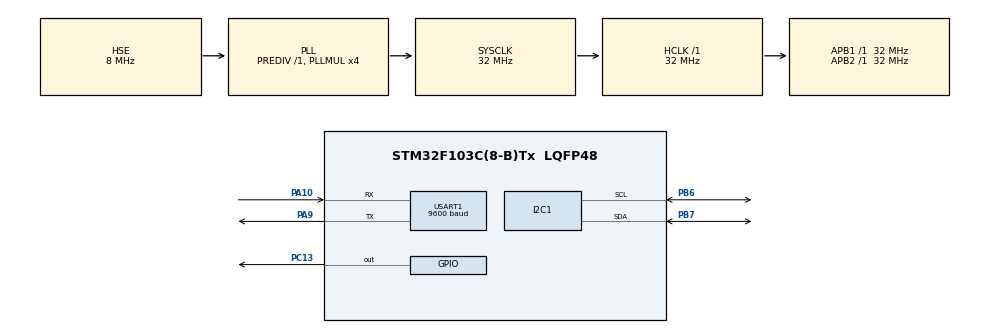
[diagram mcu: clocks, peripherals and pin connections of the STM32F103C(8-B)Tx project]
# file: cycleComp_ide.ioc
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I2C1.I2C_Mode=I2C_Fast
Mcu.Family=STM32F1
Mcu.Name=STM32F103C(8-B)Tx
Mcu.Package=LQFP48
NVIC.PriorityGroup=NVIC_PRIORITYGROUP_4
NVIC.USART1_IRQn=true\:0\:0\:false\:false\:true\:true\:true\:true
PA10.Mode=Asynchronous
PA10.Signal=USART1_RX
PA9.Mode=Asynchronous
PA9.Signal=USART1_TX
PB6.Mode=I2C
PB6.Signal=I2C1_SCL
PB7.Mode=I2C
PB7.Signal=I2C1_SDA
PC13-TAMPER-RTC.Signal=GPIO_Output
PD0-OSC_IN.Mode=HSE-External-Oscillator
PD0-OSC_IN.Signal=RCC_OSC_IN
PD1-OSC_OUT.Mode=HSE-External-Oscillator
PD1-OSC_OUT.Signal=RCC_OSC_OUT
ProjectManager.HeapSize=0x200
ProjectManager.StackSize=0x400
ProjectManager.TargetToolchain=STM32CubeIDE
RCC.AHBFreq_Value=32000000
RCC.APB1Freq_Value=32000000
RCC.APB1TimFreq_Value=32000000
RCC.APB2Freq_Value=32000000
RCC.APB2TimFreq_Value=32000000
RCC.HCLKFreq_Value=32000000
RCC.PLLMUL=RCC_PLL_MUL4
RCC.PLLSourceVirtual=RCC_PLLSOURCE_HSE
RCC.SYSCLKFreq_VALUE=32000000
RCC.SYSCLKSource=RCC_SYSCLKSOURCE_PLLCLK
RCC.USBFreq_Value=32000000
USART1.BaudRate=9600
USART1.Mode=MODE_RX
USART1.VirtualMode=VM_ASYNC
VP_SYS_VS_ND.Mode=No_Debug
board=custom

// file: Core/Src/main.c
/* USER CODE BEGIN Header */
/**
  ******************************************************************************
  * @file           : main.c
  * @brief          : Main program body
  ******************************************************************************
  * @attention
  *
  * Copyright (c) 2023 STMicroelectronics.
  * All rights reserved.
  *
  * This software is licensed under terms that can be found in the LICENSE file
  * in the root directory of this software component.
  * If no LICENSE file comes with this software, it is provided AS-IS.
  *
  ******************************************************************************
  */
/* USER CODE END Header */
#include "main.h"

/* USER CODE BEGIN Includes */
#include "fonts.h"
#include "ssd1306.h"
#include "test.h"
//#include "dispMap.h"
#include "nmea_parse.h"

/* USER CODE END Includes */

I2C_HandleTypeDef hi2c1;

UART_HandleTypeDef huart1;

void SystemClock_Config(void);
static void MX_GPIO_Init(void);
static void MX_I2C1_Init(void);
static void MX_USART1_UART_Init(void);

/* USER CODE BEGIN 0 */

char gpsBuff[GPS_BUFF_SIZE];
GPS gpsData;

uint8_t rxFlag = 0, updateFlag = 0, seqCheck = 0;
uint8_t rxIntCheck=1;
uint8_t rxInProgress=0;
char rxData;
uint32_t newSpeed = 0;
/* USER CODE END 0 */

int main(void)
{
  /* USER CODE BEGIN 1 */
	uint8_t displayCntr = 0;
	float tripCnt = 0.0;
	char tripStr[9] = "         ";
  /* USER CODE END 1 */

  /* MCU Configuration--------------------------------------------------------*/

  /* Reset of all peripherals, Initializes the Flash interface and the Systick. */
  HAL_Init();

  /* Configure the system clock */
  SystemClock_Config();

  /* Initialize all configured peripherals */
  MX_GPIO_Init();
  MX_I2C1_Init();
  MX_USART1_UART_Init();
  /* USER CODE BEGIN 2 */

  SSD1306_Init();  // initialise

  /* USER CODE END 2 */

  nmea_mem_init(&gpsData);
  /* Infinite loop */
  while (1)
  {
	  if(updateFlag != 0)
	  {
		  tripCnt = tripCnt + ((float)newSpeed/3.6);
		  sprintf(tripStr,"%0.3f",(double)(tripCnt/1000.0));
		  if(displayCntr < 10)
		  {
			  if(displayCntr == 0)
				  SSD1306_Clear();
			  displayCntr++;
			  updateFlag = 0;
			  SSD1306_GotoXY (40,25);
			  SSD1306_Puts (gpsData.speed, &Font_16x26, 1);
			  SSD1306_GotoXY (0,0);
			  SSD1306_Puts (tripStr, &Font_11x18, 1);
			  SSD1306_UpdateScreen();
		  }
		  else if(displayCntr < 15)
		  {
			  if(displayCntr == 10)
			  	  SSD1306_Clear();
			  displayCntr++;
			  updateFlag = 0;
			  SSD1306_GotoXY (0,0);
			  SSD1306_Puts (gpsData.validStatus, &Font_11x18, 1);
			  SSD1306_GotoXY (0,20);
			  SSD1306_Puts (gpsData.lat, &Font_11x18, 1);
			  SSD1306_GotoXY (110,20);
			  SSD1306_Puts (gpsData.latDir, &Font_11x18, 1);
			  SSD1306_GotoXY (0,38);
			  SSD1306_Puts (gpsData.lon, &Font_11x18, 1);
			  SSD1306_GotoXY (110,38);
			  SSD1306_Puts (gpsData.lonDir, &Font_11x18, 1);
			  SSD1306_UpdateScreen();
		  }
		  else if(displayCntr < 20)
		  {
			  if(displayCntr == 15)
				  SSD1306_Clear();
			  displayCntr++;
			  updateFlag = 0;
			  SSD1306_GotoXY (0,0);
			  SSD1306_Puts ("UTC STAT", &Font_11x18, 1);
			  SSD1306_GotoXY (0,20);
			  SSD1306_Puts (gpsData.utcTime, &Font_11x18, 1);
			  SSD1306_GotoXY (0,40);
			  SSD1306_Puts (gpsData.utcDate, &Font_11x18, 1);
			  SSD1306_UpdateScreen();
			  if(displayCntr >= 20)
			  {
				  displayCntr = 0;
			  }
		  }
	  }
	  else if((rxIntCheck == 1) && (seqCheck != 6))
	  {
		  rxIntCheck = 0;
		  HAL_UART_Receive_IT( &huart1, &rxData, 1);
	  }
	  else if((rxIntCheck == 1) && (seqCheck == 6))
	  {
		  if(rxInProgress == 0)
		  {
			  rxIntCheck = 75;
			  HAL_UART_Receive_IT( &huart1, &gpsBuff[6], 74);
			  rxInProgress = 1;
		  }
		  else
		  {
			  rxInProgress = 0;
			  seqCheck = 0;
			  nmea_parse(&gpsData, gpsBuff);
			  updateFlag = 1;  //Update Screen
		  }
	  }

  }
}

void SystemClock_Config(void)
{
  RCC_OscInitTypeDef RCC_OscInitStruct = {0};
  RCC_ClkInitTypeDef RCC_ClkInitStruct = {0};

  /** Initializes the RCC Oscillators according to the specified parameters
  * in the RCC_OscInitTypeDef structure.
  */
  RCC_OscInitStruct.OscillatorType = RCC_OSCILLATORTYPE_HSE;
  RCC_OscInitStruct.HSEState = RCC_HSE_ON;
  RCC_OscInitStruct.HSEPredivValue = RCC_HSE_PREDIV_DIV1;
  RCC_OscInitStruct.HSIState = RCC_HSI_ON;
  RCC_OscInitStruct.PLL.PLLState = RCC_PLL_ON;
  RCC_OscInitStruct.PLL.PLLSource = RCC_PLLSOURCE_HSE;
  RCC_OscInitStruct.PLL.PLLMUL = RCC_PLL_MUL4;
  if (HAL_RCC_OscConfig(&RCC_OscInitStruct) != HAL_OK)
  {
    Error_Handler();
  }

  /** Initializes the CPU, AHB and APB buses clocks
  */
  RCC_ClkInitStruct.ClockType = RCC_CLOCKTYPE_HCLK|RCC_CLOCKTYPE_SYSCLK
                              |RCC_CLOCKTYPE_PCLK1|RCC_CLOCKTYPE_PCLK2;
  RCC_ClkInitStruct.SYSCLKSource = RCC_SYSCLKSOURCE_PLLCLK;
  RCC_ClkInitStruct.AHBCLKDivider = RCC_SYSCLK_DIV1;
  RCC_ClkInitStruct.APB1CLKDivider = RCC_HCLK_DIV1;
  RCC_ClkInitStruct.APB2CLKDivider = RCC_HCLK_DIV1;

  if (HAL_RCC_ClockConfig(&RCC_ClkInitStruct, FLASH_LATENCY_1) != HAL_OK)
  {
    Error_Handler();
  }
}

static void MX_I2C1_Init(void)
{

  hi2c1.Instance = I2C1;
  hi2c1.Init.ClockSpeed = 400000;
  hi2c1.Init.DutyCycle = I2C_DUTYCYCLE_2;
  hi2c1.Init.OwnAddress1 = 0;
  hi2c1.Init.AddressingMode = I2C_ADDRESSINGMODE_7BIT;
  hi2c1.Init.DualAddressMode = I2C_DUALADDRESS_DISABLE;
  hi2c1.Init.OwnAddress2 = 0;
  hi2c1.Init.GeneralCallMode = I2C_GENERALCALL_DISABLE;
  hi2c1.Init.NoStretchMode = I2C_NOSTRETCH_DISABLE;
  if (HAL_I2C_Init(&hi2c1) != HAL_OK)
  {
    Error_Handler();
  }

}

static void MX_USART1_UART_Init(void)
{

  huart1.Instance = USART1;
  huart1.Init.BaudRate = 9600;
  huart1.Init.WordLength = UART_WORDLENGTH_8B;
  huart1.Init.StopBits = UART_STOPBITS_1;
  huart1.Init.Parity = UART_PARITY_NONE;
  huart1.Init.Mode = UART_MODE_RX;
  huart1.Init.HwFlowCtl = UART_HWCONTROL_NONE;
  huart1.Init.OverSampling = UART_OVERSAMPLING_16;
  if (HAL_UART_Init(&huart1) != HAL_OK)
  {
    Error_Handler();
  }

}

static void MX_GPIO_Init(void)
{
  GPIO_InitTypeDef GPIO_InitStruct = {0};

  /* GPIO Ports Clock Enable */
  __HAL_RCC_GPIOC_CLK_ENABLE();
  __HAL_RCC_GPIOD_CLK_ENABLE();
  __HAL_RCC_GPIOA_CLK_ENABLE();
  __HAL_RCC_GPIOB_CLK_ENABLE();

  /*Configure GPIO pin Output Level */
  HAL_GPIO_WritePin(GPIOC, GPIO_PIN_13, GPIO_PIN_RESET);

  /*Configure GPIO pin : PC13 */
  GPIO_InitStruct.Pin = GPIO_PIN_13;
  GPIO_InitStruct.Mode = GPIO_MODE_OUTPUT_PP;
  GPIO_InitStruct.Pull = GPIO_NOPULL;
  GPIO_InitStruct.Speed = GPIO_SPEED_FREQ_LOW;
  HAL_GPIO_Init(GPIOC, &GPIO_InitStruct);

}

void Error_Handler(void)
{
  __disable_irq();
  while (1)
  {
  }
}
